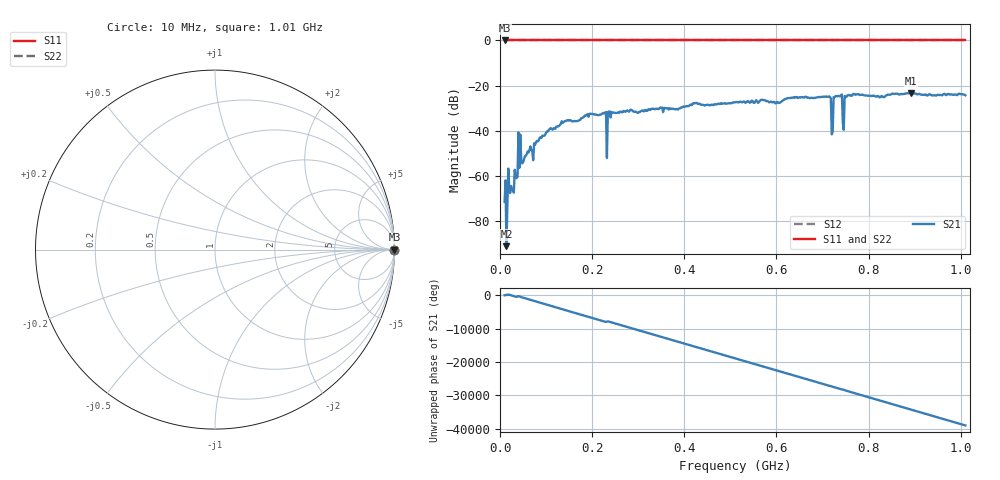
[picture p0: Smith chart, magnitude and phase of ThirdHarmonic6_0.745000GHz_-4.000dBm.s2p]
! 8/16/2025 12:55:06 AM
! C:\ANRITSUVNA\TEMP\TEMP.S2P
! CHANNEL.1
! TR.MEASUREMENT
! RAW.DATA
! RF.CORRECTION.OFF
! AVERAGING.OFF
! IF.BANDWIDTH: 5KHZ
! SWEEPTYPE:  FREQ.SWEEP(Linear)
! Reference Plane Port Info
! PORT:  PORT1  PORT2
! DISTANCE:  0  m  0  m
! TIME:  0  s  0  s
! PHASE.OFFSET:  0  deg.  0  deg.
! LOSS:  0  dB  0  dB
! REF.LOSS:  0  dB  0  dB
! REF.FREQ:  0  Hz  0  Hz
! Power Info
! POWER:  -20  dBm  -20  dBm
! EFF.POWER:  -20  dBm  -20  dBm
! SOURCE.ATTEN:  0  dB  0  dB
! TEST.ATTEN:  0  dB  0  dB
# GHZ S RI R 50.0
! FREQ.GHZ  S11RE  S11IM  S21RE  S21IM  S12RE  S12IM  S22RE  S22IM
!; PortSelection: Port_12
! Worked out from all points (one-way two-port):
!   501 points, 10 MHz to 1.01 GHz, reference 50 ohm
!   highest |S21| = -23.20 dB at 892 MHz (marker M1); lowest = -90.9 dB at 14 MHz (marker M2)
!   lowest |S11| = 0.0 dB at 10 MHz (marker M3)
!   |S11| at or under -10 dB: nowhere
!   |S22| runs from 0.0 to 0.0 dB; largest |S21 - S12| = 1.1
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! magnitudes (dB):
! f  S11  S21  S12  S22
! 10 MHz  0.0  -71.4  0.0  0.0
! 14 MHz  0.0  -90.9  0.0  0.0
! 34 MHz  0.0  -60.5  0.0  0.0
! 44 MHz  0.0  -41.6  0.0  0.0
! 50 MHz  0.0  -54.0  0.0  0.0
! 106 MHz  0.0  -39.6  0.0  0.0
! 178 MHz  0.0  -34.3  0.0  0.0
! 226 MHz  0.0  -32.2  0.0  0.0
! 236 MHz  0.0  -31.5  0.0  0.0
! 238 MHz  0.0  -31.4  0.0  0.0
! 344 MHz  0.0  -30.3  0.0  0.0
! 510 MHz  0.0  -27.3  0.0  0.0
! 678 MHz  0.0  -25.4  0.0  0.0
! 714 MHz  0.0  -24.7  0.0  0.0
! 718 MHz  0.0  -25.5  0.0  0.0
! 722 MHz  0.0  -40.3  0.0  0.0
! 728 MHz  0.0  -24.6  0.0  0.0
! 748 MHz  0.0  -24.6  0.0  0.0
! 752 MHz  0.0  -24.9  0.0  0.0
! 844 MHz  0.0  -24.0  0.0  0.0
! 892 MHz  0.0  -23.2  0.0  0.0
! 1.01 GHz  0.0  -24.3  0.0  0.0
